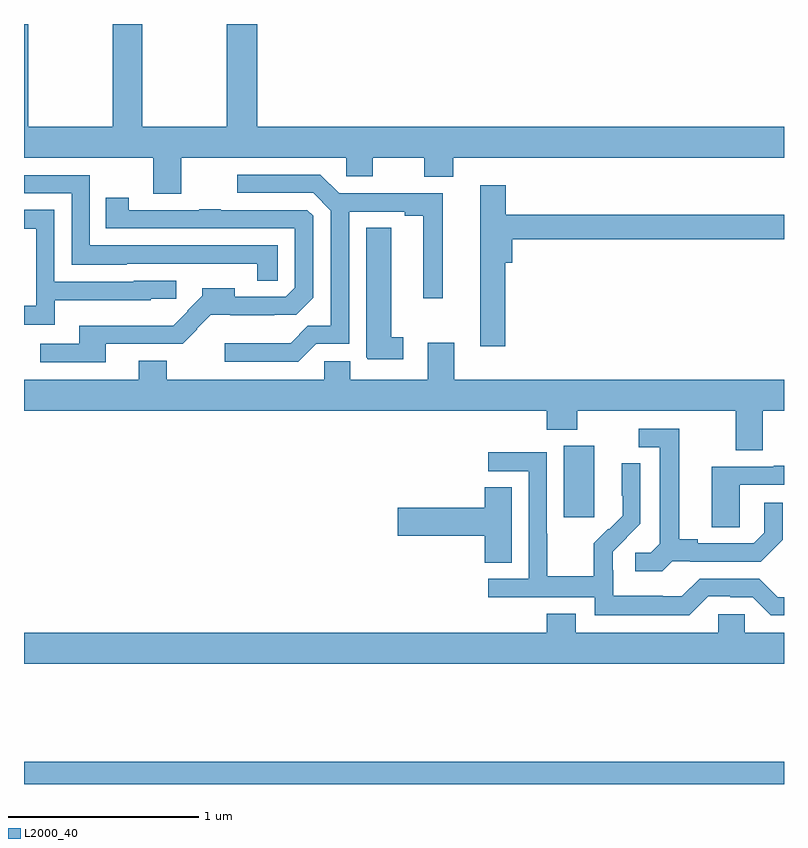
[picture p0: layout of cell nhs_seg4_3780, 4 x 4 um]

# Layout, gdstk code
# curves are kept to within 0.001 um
import gdstk
lib = gdstk.Library(unit=1e-6, precision=1e-09)
def R(c, l, rs):  # rectangles x0, y0, x1, y1
    for r in rs: c.add(gdstk.rectangle(r[:2], r[2:], *l))
def P(c, l, *ps):  # polygons
    for p in ps: c.add(gdstk.Polygon(p, *l))
L2000_40 = (2000, 40)

nhs_seg4_3780 = lib.new_cell('nhs_seg4_3780')
R(nhs_seg4_3780, L2000_40, [(311,750.9,315,751.016), (313.841,752.304,314.002,752.68)])
P(nhs_seg4_3780, L2000_40, [(311.827,754.196),(312.696,754.196),(312.696,754.098),(312.835,754.098),(312.835,754.196),(313.106,754.196),(313.106,754.097),(313.259,754.097),(313.259,754.196),(315,754.196),(315,754.36),(312.227,754.36),(312.227,754.9),(312.067,754.9),(312.067,754.36),(311.622,754.36),(311.622,754.9),(311.467,754.9),(311.467,754.36),(311.022,754.36),(311.022,754.9),(311,754.9),(311,754.196),(311.68,754.196),(311.68,754.006),(311.827,754.006)],
  [(312.537,753.216),(312.711,753.216),(312.711,753.912),(313.004,753.912),(313.004,753.892),(313.1,753.892),(313.1,753.456),(313.204,753.456),(313.204,754.008),(312.658,754.008),(312.559,754.107),(312.123,754.107),(312.123,754.011),(312.522,754.011),(312.615,753.918),(312.615,753.311),(312.494,753.311),(312.403,753.22),(312.057,753.22),(312.057,753.123),(312.444,753.123)],
  [(312.336,753.735),(311.346,753.735),(311.346,754.104),(311,754.104),(311,754.008),(311.25,754.008),(311.25,753.632),(311.541,753.632),(311.541,753.639),(311.973,753.639),(311.973,753.638),(312.228,753.638),(312.228,753.55),(312.336,753.55)],
  [(313.532,753.644),(313.571,753.644),(313.571,753.766),(315,753.766),(315,753.895),(313.535,753.895),(313.535,754.051),(313.4,754.051),(313.4,753.204),(313.532,753.204)],
  [(311.431,753.216),(311.835,753.216),(311.911,753.293),(311.909,753.295),(311.983,753.369),(312.317,753.368),(312.317,753.37),(312.433,753.37),(312.522,753.459),(312.522,753.891),(312.492,753.921),(312.035,753.921),(312.035,753.926),(311.923,753.926),(311.923,753.921),(311.55,753.921),(311.55,753.985),(311.431,753.985),(311.431,753.825),(312.426,753.825),(312.426,753.513),(312.378,753.465),(312.109,753.465),(312.109,753.508),(311.938,753.508),(311.938,753.469),(311.859,753.39),(311.862,753.387),(311.786,753.311),(311.684,753.311),(311.684,753.313),(311.291,753.313),(311.291,753.216),(311.085,753.216),(311.085,753.12),(311.431,753.12)],
  [(311.161,753.446),(311.667,753.446),(311.667,753.453),(311.802,753.453),(311.802,753.549),(311.577,753.549),(311.577,753.543),(311.16,753.543),(311.16,753.923),(311,753.923),(311,753.822),(311.064,753.822),(311.064,753.417),(311,753.417),(311,753.317),(311.161,753.317)],
  [(312.997,753.251),(312.934,753.251),(312.934,753.827),(312.8,753.827),(312.8,753.145),(312.81,753.135),(312.997,753.135)],
  [(314.887,752.864),(315,752.864),(315,753.028),(313.264,753.028),(313.264,753.223),(313.124,753.223),(313.124,753.028),(312.718,753.028),(312.718,753.126),(312.579,753.126),(312.579,753.028),(311.751,753.028),(311.751,753.127),(311.603,753.127),(311.603,753.028),(311,753.028),(311,752.864),(313.751,752.864),(313.751,752.765),(313.911,752.765),(313.911,752.864),(314.747,752.864),(314.747,752.656),(314.887,752.656)],
  [(314.412,752.073),(314.506,752.073),(314.506,752.07),(314.878,752.07),(314.994,752.186),(314.994,752.38),(314.897,752.38),(314.897,752.223),(314.84,752.166),(314.545,752.166),(314.545,752.189),(314.449,752.189),(314.449,752.769),(314.235,752.769),(314.235,752.673),(314.345,752.673),(314.345,752.165),(314.298,752.118),(314.217,752.118),(314.217,752.021),(314.36,752.021)],
  [(314.601,751.887),(314.717,751.887),(314.717,751.884),(314.835,751.884),(314.931,751.788),(315,751.788),(315,751.884),(314.967,751.884),(314.871,751.98),(314.556,751.98),(314.463,751.887),(314.363,751.887),(314.363,751.891),(314.1,751.891),(314.1,752.025),(314.098,752.025),(314.098,752.122),(314.244,752.27),(314.244,752.588),(314.147,752.588),(314.147,752.416),(314.15,752.416),(314.15,752.312),(314.079,752.241),(314.076,752.244),(313.999,752.167),(313.999,751.993),(313.755,751.993),(313.755,752.216),(313.752,752.216),(313.752,752.646),(313.443,752.646),(313.443,752.547),(313.656,752.547),(313.656,751.98),(313.443,751.98),(313.443,751.884),(314.004,751.884),(314.004,751.787),(314.501,751.787)],
  [(314.766,752.475),(315,752.475),(315,752.575),(314.945,752.575),(314.945,752.571),(314.621,752.571),(314.621,752.251),(314.766,752.251)],
  [(313.567,752.462),(313.424,752.462),(313.424,752.354),(312.966,752.354),(312.966,752.207),(313.424,752.207),(313.424,752.065),(313.567,752.065)],
  [(315,751.696),(314.793,751.696),(314.793,751.794),(314.655,751.794),(314.655,751.696),(313.903,751.696),(313.903,751.795),(313.751,751.795),(313.751,751.696),(311,751.696),(311,751.532),(315,751.532)])

lib.write_gds('nhs_seg4_3780.gds')
